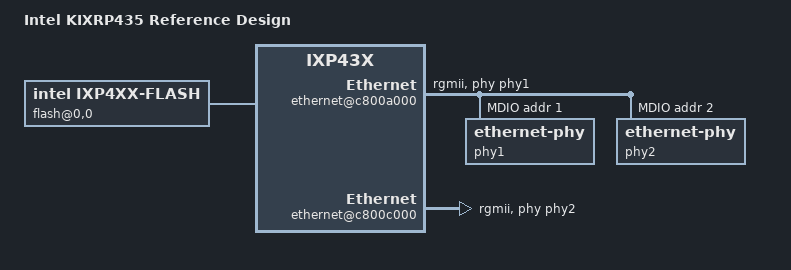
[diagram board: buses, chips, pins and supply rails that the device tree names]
// SPDX-License-Identifier: ISC
/*
 * Device Tree file for the Intel KIXRP435 Control Plane
 * processor reference design.
 */

/dts-v1/;

#include "intel-ixp43x.dtsi"
#include "intel-ixp4xx-reference-design.dtsi"
#include <dt-bindings/input/input.h>

/ {
	model = "Intel KIXRP435 Reference Design";
	compatible = "intel,kixrp435", "intel,ixp43x";
	#address-cells = <1>;
	#size-cells = <1>;

	soc {
		bus@c4000000 {
			flash@0,0 {
				compatible = "intel,ixp4xx-flash", "cfi-flash";
				bank-width = <2>;
				/* Enable writes on the expansion bus */
				intel,ixp4xx-eb-write-enable = <1>;
				/* 16 MB of Flash mapped in at CS0 */
				reg = <0 0x00000000 0x1000000>;

				partitions {
					compatible = "redboot-fis";
					/* Eraseblock at 0x0fe0000 */
					fis-index-block = <0x7f>;
				};
			};
		};

		/* CHECKME: ethernet set-up taken from Gateworks Cambria */
		ethernet@c800a000 {
			status = "okay";
			queue-rx = <&qmgr 4>;
			queue-txready = <&qmgr 21>;
			phy-mode = "rgmii";
			phy-handle = <&phy1>;

			mdio {
				#address-cells = <1>;
				#size-cells = <0>;

				phy1: ethernet-phy@1 {
					reg = <1>;
				};

				phy2: ethernet-phy@2 {
					reg = <2>;
				};
			};
		};

		ethernet@c800c000 {
			status = "okay";
			queue-rx = <&qmgr 2>;
			queue-txready = <&qmgr 19>;
			phy-mode = "rgmii";
			phy-handle = <&phy2>;
			intel,npe-handle = <&npe 0>;
		};
	};
};
